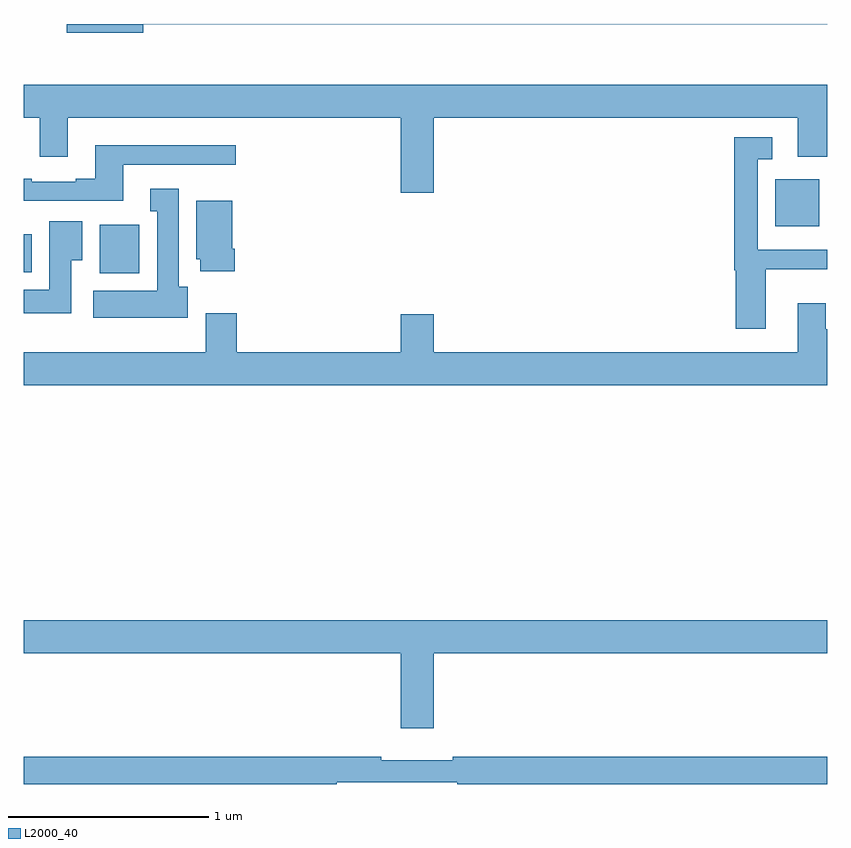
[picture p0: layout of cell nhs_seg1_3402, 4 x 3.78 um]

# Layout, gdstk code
import gdstk
lib = gdstk.Library(unit=1e-6, precision=1e-09)
def R(c, l, rs):  # rectangles x0, y0, x1, y1
    for r in rs: c.add(gdstk.rectangle(r[:2], r[2:], *l))
def P(c, l, *ps):  # polygons
    for p in ps: c.add(gdstk.Polygon(p, *l))
L2000_40 = (2000, 40)

nhs_seg1_3402 = lib.new_cell('nhs_seg1_3402')
R(nhs_seg1_3402, L2000_40, [(295.379,550.958,295.576,551.2), (295,550.964,295.039,551.152), (298.742,551.192,298.96,551.425)])
P(nhs_seg1_3402, L2000_40, [(295.594,552.198),(299,552.198),(299,552.199),(295,552.199),(295,552.198),(295.214,552.198),(295.214,552.155),(295.594,552.155)],
  [(297.04,551.732),(298.853,551.732),(298.853,551.538),(299,551.538),(299,551.896),(295,551.896),(295,551.732),(295.079,551.732),(295.079,551.538),(295.219,551.538),(295.219,551.732),(296.876,551.732),(296.876,551.358),(297.04,551.358)],
  [(298.693,550.979),(299,550.979),(299,551.076),(298.653,551.076),(298.653,551.525),(298.726,551.525),(298.726,551.635),(298.537,551.635),(298.537,550.973),(298.544,550.973),(298.544,550.683),(298.693,550.683)],
  [(295.495,551.499),(296.056,551.499),(296.056,551.596),(295.355,551.596),(295.355,551.428),(295.259,551.428),(295.259,551.415),(295.039,551.415),(295.039,551.428),(295,551.428),(295,551.319),(295.495,551.319)],
  [(295.816,550.89),(295.771,550.89),(295.771,551.38),(295.631,551.38),(295.631,551.267),(295.664,551.267),(295.664,550.87),(295.347,550.87),(295.347,550.736),(295.816,550.736)],
  [(296.051,551.08),(296.038,551.08),(296.038,551.32),(295.859,551.32),(295.859,551.028),(295.88,551.028),(295.88,550.968),(296.051,550.968)],
  [(295.237,551.024),(295.291,551.024),(295.291,551.218),(295.127,551.218),(295.127,550.876),(295,550.876),(295,550.758),(295.237,550.758)],
  [(299,550.679),(298.993,550.679),(298.993,550.81),(298.853,550.81),(298.853,550.564),(297.04,550.564),(297.04,550.753),(296.876,550.753),(296.876,550.564),(296.06,550.564),(296.06,550.759),(295.907,550.759),(295.907,550.564),(295,550.564),(295,550.4),(299,550.4)],
  [(297.04,549.068),(299,549.068),(299,549.232),(295,549.232),(295,549.068),(296.876,549.068),(296.876,548.694),(297.04,548.694)],
  [(296.558,548.424),(297.158,548.424),(297.158,548.416),(299,548.416),(299,548.552),(297.136,548.552),(297.136,548.533),(296.78,548.533),(296.78,548.552),(295,548.552),(295,548.416),(296.558,548.416)])

lib.write_gds('nhs_seg1_3402.gds')
